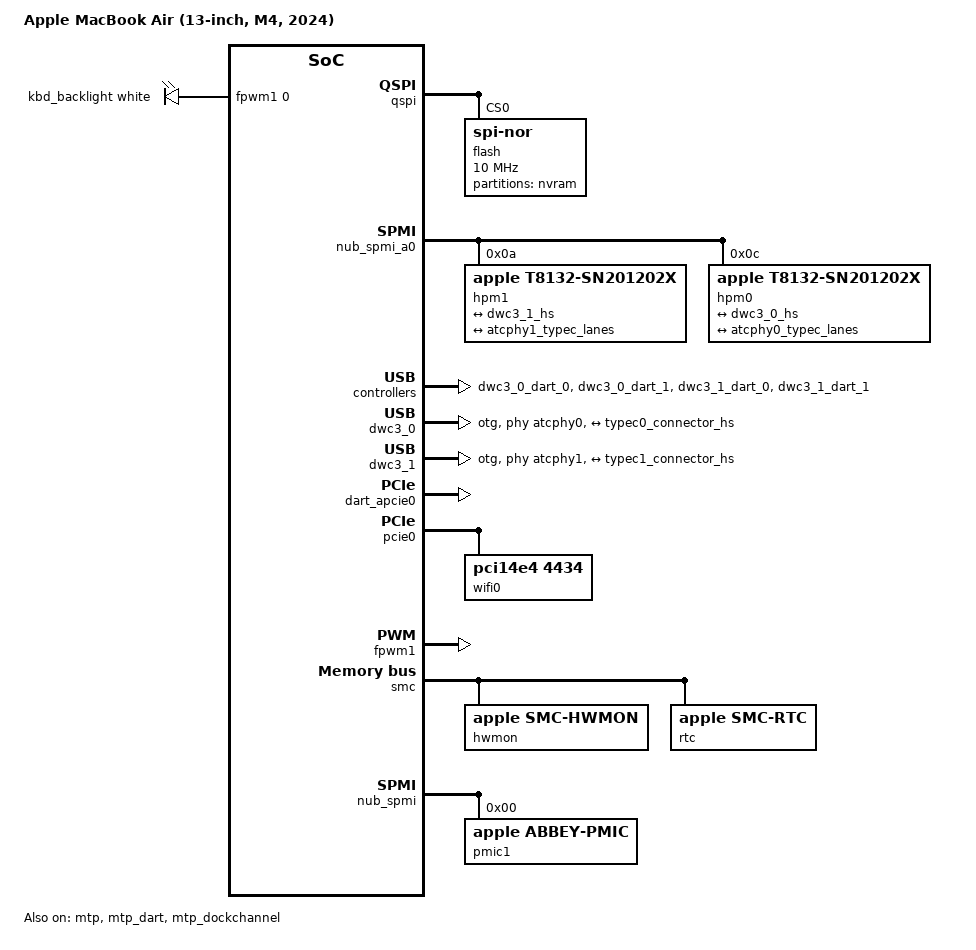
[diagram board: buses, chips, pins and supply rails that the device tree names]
// SPDX-License-Identifier: GPL-2.0+ OR MIT
/*
 * Apple MacBook Air (13-inch, M4, 2025)
 *
 * target-type: J713
 *
 * Copyright The Asahi Linux Contributors
 */

/dts-v1/;

#include "t8132.dtsi"
#include "t8132-jxxx.dtsi"
#include <dt-bindings/gpio/gpio.h>
#include <dt-bindings/leds/common.h>
#include <dt-bindings/phy/phy.h>
#include <dt-bindings/spmi/spmi.h>

/ {
	compatible = "apple,j713", "apple,t8132", "apple,arm-platform";
	model = "Apple MacBook Air (13-inch, M4, 2024)";

	aliases {
		ans = &nvme;
		ans-mbox = &ans_mbox;
		keyboard = &keyboard;
		nvram = &nvram;
		pmu-primary = &pmic1;
		pmp = &pmp;
		sart-ans = &sart;
		spmi-primary = &nub_spmi;
		wifi0 = &wifi0;
	};

	chosen {
		linux-enablement-mac,disk-boot;
		linux-enablement-mac,dapf-handoff = "/arm-io/aop", "/arm-io/mtp",
			"/arm-io/pmp";
		linux-enablement-mac,dapf-power-on-handoff = "/arm-io/pmp";
	};

	led-controller {
		compatible = "pwm-leds";
		led-0 {
			pwms = <&fpwm1 0 40000>;
			label = "kbd_backlight";
			function = LED_FUNCTION_KBD_BACKLIGHT;
			color = <LED_COLOR_ID_WHITE>;
			max-brightness = <255>;
			default-state = "keep";
		};
	};
};

&qspi {
	status = "okay";

	flash@0 {
		compatible = "jedec,spi-nor";
		reg = <0>;
		spi-max-frequency = <10000000>;
		spi-rx-bus-width = <1>;
		spi-tx-bus-width = <1>;

		partitions {
			compatible = "fixed-partitions";
			#address-cells = <1>;
			#size-cells = <1>;

			nvram: partition@700000 {
				label = "nvram";
				/* J713 ADT /arm-io/qspi/spinor/anvram, flash-relative. */
				reg = <0x700000 0x100000>;
			};
		};
	};
};

/*
 * m1n1 performs the T8132 controller and PHY initialization. Linux adopts
 * the trained link and owns DART stream 16, RID-to-SID routing and MSI.
 *
 * AURORA_TODO: Determine and validate the T8132 DART fault interrupt, then
 * describe it on dart_apcie0 and make it mandatory in the binding.
 */
&soc {
	nub_spmi_a0: spmi@388908000 {
		compatible = "apple,t8132-spmi", "apple,t8103-spmi";
		reg = <0x3 0x88908000 0x0 0x4000>;
		#address-cells = <2>;
		#size-cells = <0>;
		#interrupt-cells = <2>;
		interrupt-controller;
		interrupt-parent = <&aic>;
		interrupts = <AIC_IRQ 520 IRQ_TYPE_LEVEL_HIGH>;

		hpm1: usb-pd@a {
			compatible = "apple,t8132-sn201202x", "apple,sn201202x";
			reg = <0xa SPMI_USID>;
			interrupts = <37 IRQ_TYPE_EDGE_RISING>,
				     <43 IRQ_TYPE_EDGE_RISING>,
				     <45 IRQ_TYPE_EDGE_RISING>;
			interrupt-names = "irq", "sleep", "wake";

			typec1: connector {
				compatible = "usb-c-connector";
				label = "USB-C MagSafe-adjacent";
				power-role = "dual";
				data-role = "dual";

				ports {
					#address-cells = <1>;
					#size-cells = <0>;

					port@0 {
						reg = <0>;
						typec1_connector_hs: endpoint {
							remote-endpoint = <&dwc3_1_hs>;
						};
					};

					port@1 {
						reg = <1>;
						typec1_connector_ss: endpoint {
							remote-endpoint = <&atcphy1_typec_lanes>;
						};
					};
				};
			};
		};

		hpm0: usb-pd@c {
			compatible = "apple,t8132-sn201202x", "apple,sn201202x";
			reg = <0xc SPMI_USID>;
			interrupts = <11 IRQ_TYPE_EDGE_RISING>,
				     <17 IRQ_TYPE_EDGE_RISING>,
				     <19 IRQ_TYPE_EDGE_RISING>;
			interrupt-names = "irq", "sleep", "wake";

			typec0: connector {
				compatible = "usb-c-connector";
				label = "USB-C native client";
				power-role = "dual";
				data-role = "dual";

				ports {
					#address-cells = <1>;
					#size-cells = <0>;

					port@0 {
						reg = <0>;
						typec0_connector_hs: endpoint {
							remote-endpoint = <&dwc3_0_hs>;
						};
					};

					port@1 {
						reg = <1>;
						typec0_connector_ss: endpoint {
							remote-endpoint = <&atcphy0_typec_lanes>;
						};
					};
				};
			};
		};
	};

	pmp_dart: iommu@380300000 {
		compatible = "apple,t8132-dart", "apple,t8110-dart";
		reg = <0x3 0x80300000 0x0 0xc000>;
		#iommu-cells = <1>;
		interrupt-parent = <&aic>;
		interrupts = <AIC_IRQ 881 IRQ_TYPE_LEVEL_HIGH>;
		power-domains = <&ps_pmp>;
	};

	pmp_report: pmp-report@3803c0000 {
		compatible = "apple,t8132-pmp-v2-report";
		reg = <0x3 0x803c0000 0x0 0x20000>;
		power-domains = <&ps_pms_sram>;
	};

	pmp: pmp@380500000 {
		compatible = "apple,t8132-pmp-v2", "apple,t6000-pmp-v2";
		reg = <0x3 0x80500000 0x0 0x80000>,
		      <0x3 0x80e00000 0x0 0x4000>;
		reg-names = "pmp", "asc";
		mboxes = <&pmp_mbox>;
		mbox-names = "mbox";
		iommus = <&pmp_dart 0>;
		power-domains = <&ps_pmp>;
		/* m1n1 supplies board/DRAM parameters and tunables before enabling. */
		status = "disabled";
	};

	pmp_mbox: mailbox@380e08000 {
		compatible = "apple,t8132-asc-mailbox", "apple,asc-mailbox-v4";
		reg = <0x3 0x80e08000 0x0 0x4000>;
		interrupt-parent = <&aic>;
		interrupts = <AIC_IRQ 877 IRQ_TYPE_LEVEL_HIGH>,
			     <AIC_IRQ 878 IRQ_TYPE_LEVEL_HIGH>,
			     <AIC_IRQ 879 IRQ_TYPE_LEVEL_HIGH>,
			     <AIC_IRQ 880 IRQ_TYPE_LEVEL_HIGH>;
		interrupt-names = "send-empty", "send-not-empty",
				  "recv-empty", "recv-not-empty";
		#mbox-cells = <0>;
		power-domains = <&ps_pmp>, <&ps_pms_sram>;
	};

	/* USB2-only path for the port away from MagSafe. */
	atcphy0: phy@402a90000 {
		compatible = "apple,t8132-atcphy";
		reg = <0x4 0x02a90000 0x0 0x4000>,
		      <0x4 0x02a84000 0x0 0x4000>;
		reg-names = "usb2phy", "pipehandler";

		#phy-cells = <1>;
		#reset-cells = <0>;
		orientation-switch;
		mode-switch;

		ports {
			#address-cells = <1>;
			#size-cells = <0>;

			port@0 {
				reg = <0>;
				atcphy0_typec_lanes: endpoint {
					remote-endpoint = <&typec0_connector_ss>;
				};
			};
		};
	};

	dwc3_0_dart_0: iommu@402f00000 {
		compatible = "apple,t8132-dart", "apple,t8110-dart";
		reg = <0x4 0x02f00000 0x0 0xc000>;
		interrupt-parent = <&aic>;
		interrupts = <AIC_IRQ 1283 IRQ_TYPE_LEVEL_HIGH>;
		#iommu-cells = <1>;
	};

	dwc3_0_dart_1: iommu@402f80000 {
		compatible = "apple,t8132-dart", "apple,t8110-dart";
		reg = <0x4 0x02f80000 0x0 0xc000>;
		interrupt-parent = <&aic>;
		interrupts = <AIC_IRQ 1283 IRQ_TYPE_LEVEL_HIGH>;
		#iommu-cells = <1>;
	};

	dwc3_0: usb@402280000 {
		compatible = "apple,t8132-dwc3";
		reg = <0x4 0x02280000 0x0 0xcd00>,
		      <0x4 0x0228cd00 0x0 0x3200>;
		reg-names = "dwc3-core", "dwc3-apple";
		interrupt-parent = <&aic>;
		interrupts = <AIC_IRQ 1279 IRQ_TYPE_LEVEL_HIGH>;

		dr_mode = "otg";
		maximum-speed = "high-speed";
		usb-role-switch;
		role-switch-default-mode = "host";

		iommus = <&dwc3_0_dart_0 0>, <&dwc3_0_dart_1 1>;
		resets = <&atcphy0>;
		phys = <&atcphy0 PHY_TYPE_USB2>;
		phy-names = "usb2-phy";

		ports {
			#address-cells = <1>;
			#size-cells = <0>;

			port@0 {
				reg = <0>;
				dwc3_0_hs: endpoint {
					remote-endpoint = <&typec0_connector_hs>;
				};
			};
		};
	};

	atcphy1: phy@40aa90000 {
		compatible = "apple,t8132-atcphy";
		reg = <0x4 0x0aa90000 0x0 0x4000>,
		      <0x4 0x0aa84000 0x0 0x4000>;
		reg-names = "usb2phy", "pipehandler";

		#phy-cells = <1>;
		#reset-cells = <0>;
		orientation-switch;
		mode-switch;

		ports {
			#address-cells = <1>;
			#size-cells = <0>;

			port@0 {
				reg = <0>;
				atcphy1_typec_lanes: endpoint {
					remote-endpoint = <&typec1_connector_ss>;
				};
			};
		};
	};

	dwc3_1_dart_0: iommu@40af00000 {
		compatible = "apple,t8132-dart", "apple,t8110-dart";
		reg = <0x4 0x0af00000 0x0 0xc000>;
		interrupt-parent = <&aic>;
		interrupts = <AIC_IRQ 1345 IRQ_TYPE_LEVEL_HIGH>;
		#iommu-cells = <1>;
	};

	dwc3_1_dart_1: iommu@40af80000 {
		compatible = "apple,t8132-dart", "apple,t8110-dart";
		reg = <0x4 0x0af80000 0x0 0xc000>;
		interrupt-parent = <&aic>;
		interrupts = <AIC_IRQ 1345 IRQ_TYPE_LEVEL_HIGH>;
		#iommu-cells = <1>;
	};

	dwc3_1: usb@40a280000 {
		compatible = "apple,t8132-dwc3";
		reg = <0x4 0x0a280000 0x0 0xcd00>,
		      <0x4 0x0a28cd00 0x0 0x3200>;
		reg-names = "dwc3-core", "dwc3-apple";
		interrupt-parent = <&aic>;
		interrupts = <AIC_IRQ 1341 IRQ_TYPE_LEVEL_HIGH>;

		dr_mode = "otg";
		maximum-speed = "high-speed";
		usb-role-switch;
		role-switch-default-mode = "host";

		iommus = <&dwc3_1_dart_0 0>, <&dwc3_1_dart_1 1>;
		resets = <&atcphy1>;
		phys = <&atcphy1 PHY_TYPE_USB2>;
		phy-names = "usb2-phy";

		ports {
			#address-cells = <1>;
			#size-cells = <0>;

			port@0 {
				reg = <0>;
				dwc3_1_hs: endpoint {
					remote-endpoint = <&typec1_connector_hs>;
				};
			};
		};
	};

	dart_apcie0: iommu@490000000 {
		compatible = "apple,t8132-dart", "apple,t8110-dart";
		reg = <0x4 0x90000000 0x0 0x20000>;
		#iommu-cells = <1>;
		apple,dma-range = <0x100 0x00010000 0x0 0x3fe00000>;
	};

	pcie0: pcie@1cb0000000 {
		compatible = "apple,t8132-pcie";
		device_type = "pci";

		reg = <0x1c 0xb0000000 0x0 0x10000000>, /* config */
		      <0x4 0x94000000 0x0 0x4000>,     /* common */
		      <0x4 0x90028000 0x0 0x8000>,     /* port 0 */
		      <0x4 0x97020000 0x0 0x4000>;     /* port 0 PHY glue */
		reg-names = "config", "rc", "port0", "phy0";

		interrupt-parent = <&aic>;
		interrupts = <AIC_IRQ 1231 IRQ_TYPE_LEVEL_HIGH>;

		msi-controller;
		msi-parent = <&pcie0>;
		msi-ranges = <&aic AIC_IRQ 1506 IRQ_TYPE_EDGE_RISING 32>;

		iommu-map = <0x100 &dart_apcie0 16 1>;
		iommu-map-mask = <0xff00>;

		bus-range = <0 1>;
		#address-cells = <3>;
		#size-cells = <2>;
		ranges = <0x43000000 0xb 0xc0000000
			  0xb 0xc0000000 0x0 0x20000000>,
			 <0x02000000 0x0 0x80000000
			  0xb 0x80000000 0x0 0x40000000>;

		port00: pci@0,0 {
			device_type = "pci";
			reg = <0x0 0x0 0x0 0x0 0x0>;
			bus-range = <1 1>;
			pwren-gpios = <&smc_gpio 0x13 GPIO_ACTIVE_HIGH>;
			reset-gpios = <&pinctrl_ap 163 GPIO_ACTIVE_LOW>;

			#address-cells = <3>;
			#size-cells = <2>;
			ranges;

			interrupt-controller;
			#interrupt-cells = <1>;
			interrupt-map-mask = <0 0 0 7>;
			interrupt-map = <0 0 0 1 &port00 0 0 0 0>,
					<0 0 0 2 &port00 0 0 0 1>,
					<0 0 0 3 &port00 0 0 0 2>,
					<0 0 0 4 &port00 0 0 0 3>;

			wifi0: wifi@0,0 {
				compatible = "pci14e4,4434";
				reg = <0x10000 0x0 0x0 0x0 0x0>;
				brcm,board-type = "apple,garden";
				local-mac-address = [00 00 00 00 00 00];
				apple,antenna-sku = "XX";
			};
		};
	};
};

&fpwm1 {
	status = "okay";
};

&smc {
	status = "okay";

	hwmon {
		compatible = "apple,smc-hwmon";
		apple,thermal-pressure-key = "mTPL";

		temperature-TB0T {
			apple,key-id = "TB0T";
			label = "Battery Hotspot";
		};

		temperature-TCHP {
			apple,key-id = "TCHP";
			label = "Charge Regulator Temp";
		};

		temperature-TH0x {
			apple,key-id = "TH0x";
			label = "NAND Flash Temperature";
		};

		temperature-TW0P {
			apple,key-id = "TW0P";
			label = "WiFi/BT Module Temp";
		};
	};

	rtc {
		compatible = "apple,smc-rtc";
		nvmem-cells = <&rtc_offset>;
		nvmem-cell-names = "rtc_offset";
	};

	reboot {
		compatible = "apple,t8132-smc-reboot", "apple,smc-reboot";
		nvmem-cells = <&shutdown_flag>, <&boot_stage>,
			<&boot_error_count>, <&panic_count>;
		nvmem-cell-names = "shutdown_flag", "boot_stage",
			"boot_error_count", "panic_count";
	};
};

&smc_mbox {
	status = "okay";
};

&nub_spmi {
	status = "okay";

	pmic1: pmic@0 {
		compatible = "apple,abbey-pmic", "apple,spmi-nvmem";
		reg = <0x0 SPMI_USID>; /* To be filled by loader */

		nvmem-layout {
			compatible = "fixed-layout";
			#address-cells = <1>;
			#size-cells = <1>;

			rtc_offset: rtc-offset@2100 {
				reg = <0x2100 0x6>;
			};

			boot_stage: boot-stage@f801 {
				reg = <0xf801 0x1>;
			};

			boot_error_count: boot-error-count@f802,0 {
				reg = <0xf802 0x1>;
				bits = <0 4>;
			};

			panic_count: panic-count@f802,4 {
				reg = <0xf802 0x1>;
				bits = <4 4>;
			};

			shutdown_flag: shutdown-flag@f80f,3 {
				reg = <0xf80f 0x1>;
				bits = <3 1>;
			};
		};
	};
};

&mtp {
	status = "okay";
};

&mtp_mbox {
	status = "okay";
};

&mtp_dart {
	status = "okay";
};

&mtp_dockchannel {
	status = "okay";
};

&mtp_hid {
	apple,afe-reset-gpios = <&smc_gpio 28 GPIO_ACTIVE_LOW>;
	apple,stm-reset-gpios = <&smc_gpio 29 GPIO_ACTIVE_LOW>;

	multi-touch {
		firmware-name = "apple/tpmtfw-j713.bin";
		apple,power-method = <2>;
	};

	keyboard: keyboard {
		hid-country-code = <0>;
		apple,keyboard-layout-id = <0>;
	};

	stm {
	};
};

/*
 * These blocks are initialized and retained by iBoot/DCP. Linux does not yet
 * own the T8132 display power sequence, and the GPIO block must remain live
 * for inherited firmware and input state.
 */
&framebuffer0 {
	/delete-property/ power-domains;
};

&pinctrl_ap {
	/delete-property/ power-domains;
};

&ps_pmp {
	apple,inherited-on;
};

&ps_pms_sram {
	apple,inherited-on;
};

#include "t8132-j713-gpu.dtsi"
